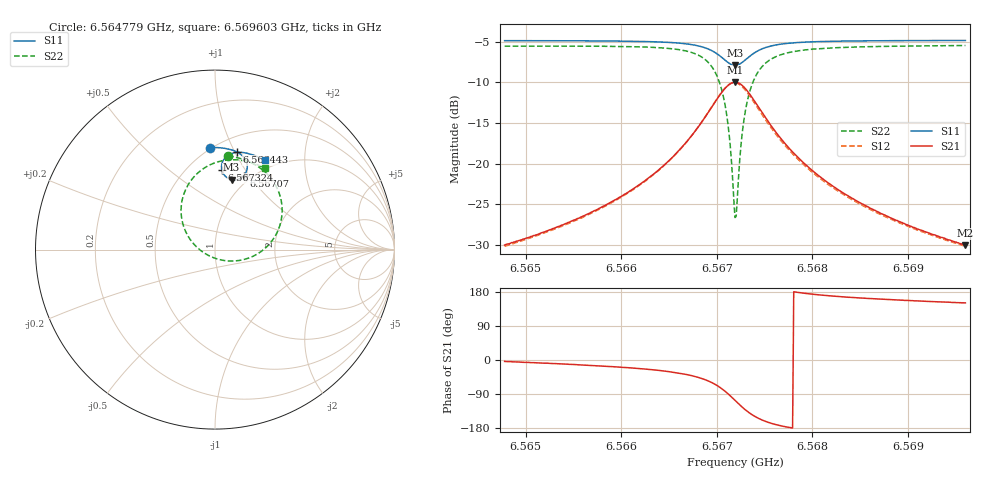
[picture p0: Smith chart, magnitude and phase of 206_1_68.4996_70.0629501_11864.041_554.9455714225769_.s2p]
#  HZ  S  RI  R  50.00
! Rohde & Schwarz Vector Network Analyzer
! Rohde-Schwarz,ZNB20-2Port,1311601062101988,3.16
! Created: UTC 3/20/2024, 5:12:57 PM
! freq[Hz]  re:S11  im:S11  re:S21  im:S21  re:S12  im:S12  re:S22  im:S22
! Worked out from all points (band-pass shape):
!   401 points, 6.564779 GHz to 6.569603 GHz, reference 50 ohm
!   highest |S21| = -10.00 dB at 6.567191 GHz (marker M1); lowest = -30.0 dB at 6.569603 GHz (marker M2)
!   |S21| within 3 dB of the highest: 6.566951 GHz to 6.567433 GHz (481.8 kHz wide, 0.00734 % of centre)
!   lowest |S11| = -7.9 dB at 6.567191 GHz (marker M3), VSWR 2.34, Z = 43 + j39.9 ohm
!   |S11| at or under -10 dB: nowhere
!   |S22| runs from -26.6 to -5.5 dB; largest |S21 - S12| = 0.016
!   S11 on the Smith chart (normalised r, x): 6.564779 GHz: 0.49, +0.82; 6.566443 GHz: 0.65, +1.02; 6.56707 GHz: 0.92, +0.94; 6.567324 GHz: 0.71, +0.79; 6.569603 GHz: 0.88, +1.30
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6.5647787e9  -0.03 0.5683  0.0315 -0.00207  0.0309 -0.00265  0.0722 0.5216
6.5655867e9  0.0381 0.5664  0.0459 -0.0105  0.0452 -0.0111  0.1538 0.5036
6.5660209e9  0.0782 0.5595  0.0603 -0.0212  0.0593 -0.022  0.2096 0.4801
6.5663948e9  0.1179 0.5462  0.0814 -0.0424  0.0802 -0.0433  0.2739 0.4367
6.5664431e9  0.1235 0.5434  0.0851 -0.0469  0.0838 -0.048  0.2837 0.4275
6.5666963e9  0.1557 0.5197  0.1078 -0.0872  0.106 -0.089  0.3425 0.3488
6.5668773e9  0.1769 0.483  0.1188 -0.1514  0.1157 -0.1547  0.374 0.2249
6.5669858e9  0.1782 0.4454  0.1024 -0.2173  0.0968 -0.2218  0.3476 0.0991
6.5670702e9  0.1596 0.4104  0.0534 -0.2771  0.0429 -0.2804  0.2555 -0.0116
6.5671185e9  0.1371 0.3945  0.00389 -0.3021  -0.00957 -0.3028  0.163 -0.0547
6.5671426e9  0.123 0.3898  -0.0259 -0.3085  -0.0403 -0.3068  0.1082 -0.0633
6.5671788e9  0.0996 0.3886  -0.0738 -0.3069  -0.0881 -0.3012  0.0223 -0.055
6.5671908e9  0.092 0.3899  -0.0896 -0.3031  -0.1035 -0.2962  -0.00543 -0.0463
6.567215e9  0.0772 0.3951  -0.1197 -0.2909  -0.1326 -0.2816  -0.0573 -0.0208
6.5672632e9  0.0532 0.4137  -0.1681 -0.2523  -0.1772 -0.2395  -0.1373 0.0547
6.5673235e9  0.0381 0.4442  -0.2007 -0.1918  -0.2041 -0.1784  -0.1842 0.1653
6.56742e9  0.0413 0.4872  -0.2026 -0.1085  -0.2008 -0.0981  -0.1732 0.3106
6.5675647e9  0.0687 0.5227  -0.1673 -0.0398  -0.1636 -0.0339  -0.097 0.4258
6.5677336e9  0.1006 0.5379  -0.1285 -0.00713  -0.1254 -0.00414  -0.0162 0.4775
6.5679989e9  0.1396 0.5422  -0.0901 0.0099  -0.088 0.0113  0.0693 0.4995
6.568807e9  0.2199 0.5247  -0.0437 0.0164  -0.0428 0.0168  0.2022 0.4847
6.569603e9  0.2809 0.4968  -0.0275 0.0154  -0.0269 0.0156  0.2779 0.4527
